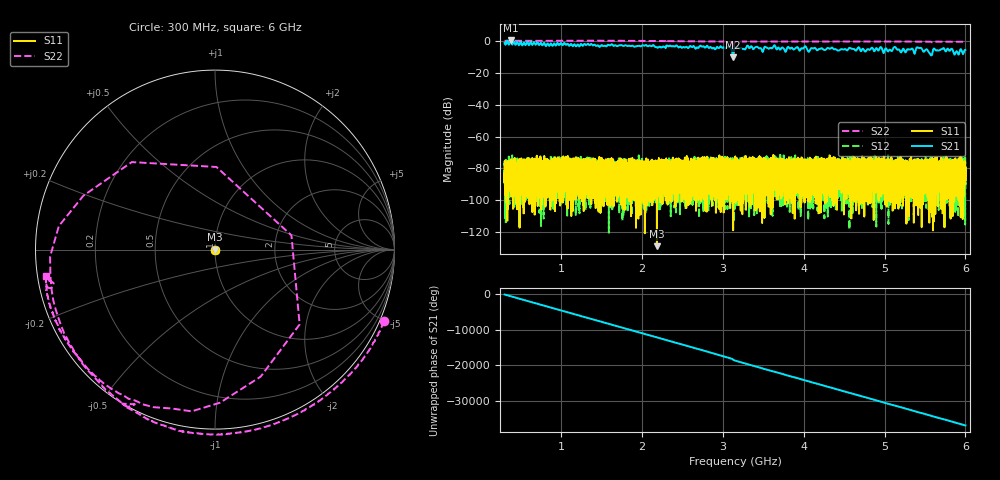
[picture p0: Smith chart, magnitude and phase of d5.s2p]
!Agilent Technologies,N5230C,SG49000117,A.08.50.07
!Agilent N5230C: A.08.50.07
!Date: Sunday, March 17, 2024 01:22:54
!Correction: S11(Off)
!S21(Off)
!S12(Off)
!S22(Full 1 Port(2))
!S2P File: Measurements: S11, S21, S12, S22:
# Hz S  RI  R 50
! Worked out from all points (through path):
!   20001 points, 300 MHz to 6 GHz, reference 50 ohm
!   highest |S21| = 0.42 dB at 373 MHz (marker M1); lowest = -10.1 dB at 3.125 GHz (marker M2)
!   lowest |S11| = -128.8 dB at 2.184 GHz (marker M3), VSWR 1.00, Z = 50 + j3.13e-05 ohm
!   |S11| at or under -10 dB: start of sweep to end of sweep
!   |S22| runs from -7.7 to 0.3 dB; largest |S21 - S12| = 1.1
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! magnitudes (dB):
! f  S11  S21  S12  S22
! 300 MHz  -84.8  -1.1  -83.8  0.2
! 373 MHz  -91.7  0.4  -80.7  0.2
! 1.25 GHz  -80.6  -1.9  -86.0  0.2
! 2.03 GHz  -93.1  -2.8  -88.8  0.1
! 2.184 GHz  -128.8  -3.9  -84.9  0.1
! 2.2 GHz  -83.5  -4.1  -81.0  0.1
! 3.069 GHz  -79.9  -3.8  -87.2  -0.4
! 3.125 GHz  -84.7  -10.1  -86.0  -5.7
! 3.15 GHz  -83.9  -3.9  -80.7  -0.6
! 3.192 GHz  -80.4  -4.2  -85.2  -0.3
! 4.1 GHz  -76.5  -4.4  -77.7  -0.2
! 5.05 GHz  -87.1  -6.1  -76.7  -0.3
! 5.129 GHz  -81.4  -3.7  -85.6  -0.3
! 5.189 GHz  -77.0  -5.9  -78.3  -0.3
! 5.363 GHz  -80.0  -7.0  -84.9  -0.3
! 5.424 GHz  -88.0  -4.3  -87.6  -0.3
! 5.568 GHz  -79.7  -8.4  -96.7  -0.4
! 5.622 GHz  -79.3  -5.1  -78.4  -0.3
! 5.714 GHz  -81.6  -4.8  -76.5  -0.3
! 5.816 GHz  -81.1  -5.4  -90.3  -0.4
! 5.889 GHz  -86.4  -6.4  -79.8  -0.4
! 6 GHz  -84.3  -5.5  -85.6  -0.4
